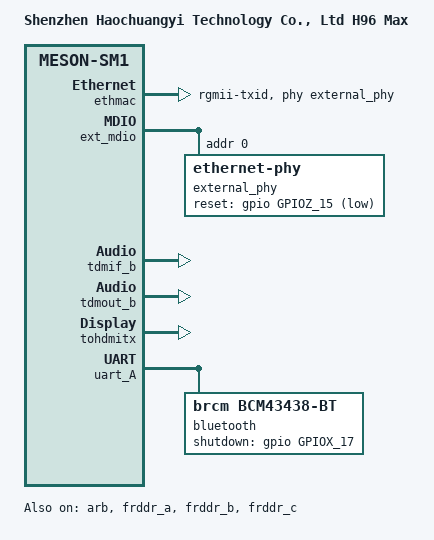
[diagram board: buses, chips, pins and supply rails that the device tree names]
// SPDX-License-Identifier: (GPL-2.0+ OR MIT)
/*
 * Copyright (c) 2019 BayLibre SAS. All rights reserved.
 * Copyright (c) 2020 Christian Hewitt <christianshewitt@gmail.com>
 */

/dts-v1/;

#include "meson-sm1-ac2xx.dtsi"
#include <dt-bindings/sound/meson-g12a-tohdmitx.h>

/ {
	compatible = "haochuangyi,h96-max", "amlogic,sm1";
	model = "Shenzhen Haochuangyi Technology Co., Ltd H96 Max";

	sound {
		compatible = "amlogic,axg-sound-card";
		model = "H96-MAX";
		audio-aux-devs = <&tdmout_b>;
		audio-routing = "TDMOUT_B IN 0", "FRDDR_A OUT 1",
				"TDMOUT_B IN 1", "FRDDR_B OUT 1",
				"TDMOUT_B IN 2", "FRDDR_C OUT 1",
				"TDM_B Playback", "TDMOUT_B OUT";

		assigned-clocks = <&clkc CLKID_MPLL2>,
				  <&clkc CLKID_MPLL0>,
				  <&clkc CLKID_MPLL1>;
		assigned-clock-parents = <0>, <0>, <0>;
		assigned-clock-rates = <294912000>,
				       <270950400>,
				       <393216000>;
		status = "okay";

		dai-link-0 {
			sound-dai = <&frddr_a>;
		};

		dai-link-1 {
			sound-dai = <&frddr_b>;
		};

		dai-link-2 {
			sound-dai = <&frddr_c>;
		};

		/* 8ch hdmi interface */
		dai-link-3 {
			sound-dai = <&tdmif_b>;
			dai-format = "i2s";
			dai-tdm-slot-tx-mask-0 = <1 1>;
			dai-tdm-slot-tx-mask-1 = <1 1>;
			dai-tdm-slot-tx-mask-2 = <1 1>;
			dai-tdm-slot-tx-mask-3 = <1 1>;
			mclk-fs = <256>;

			codec {
				sound-dai = <&tohdmitx TOHDMITX_I2S_IN_B>;
			};
		};

		/* hdmi glue */
		dai-link-4 {
			sound-dai = <&tohdmitx TOHDMITX_I2S_OUT>;

			codec {
				sound-dai = <&hdmi_tx>;
			};
		};
	};
};

&arb {
	status = "okay";
};

&clkc_audio {
	status = "okay";
};

&ethmac {
	status = "okay";

	pinctrl-0 = <&eth_pins>, <&eth_rgmii_pins>;
	pinctrl-names = "default";
	phy-mode = "rgmii-txid";
	phy-handle = <&external_phy>;

	rx-internal-delay-ps = <800>;
};

&ext_mdio {
	external_phy: ethernet-phy@0 {
		/* Realtek RTL8211F (0x001cc916) */
		reg = <0>;
		max-speed = <1000>;

		reset-assert-us = <10000>;
		reset-deassert-us = <80000>;
		reset-gpios = <&gpio GPIOZ_15 (GPIO_ACTIVE_LOW | GPIO_OPEN_DRAIN)>;

		interrupt-parent = <&gpio_intc>;
		/* MAC_INTR on GPIOZ_14 */
		interrupts = <26 IRQ_TYPE_LEVEL_LOW>;
	};
};

&frddr_a {
	status = "okay";
};

&frddr_b {
	status = "okay";
};

&frddr_c {
	status = "okay";
};

&tdmif_b {
	status = "okay";
};

&tdmout_b {
	status = "okay";
};

&tohdmitx {
	status = "okay";
};

&uart_A {
	status = "okay";

	pinctrl-0 = <&uart_a_pins>, <&uart_a_cts_rts_pins>;
	pinctrl-names = "default";
	uart-has-rtscts;

	bluetooth {
		compatible = "brcm,bcm43438-bt";
		shutdown-gpios = <&gpio GPIOX_17 GPIO_ACTIVE_HIGH>;
		max-speed = <2000000>;
		clocks = <&wifi32k>;
		clock-names = "lpo";
	};
};
